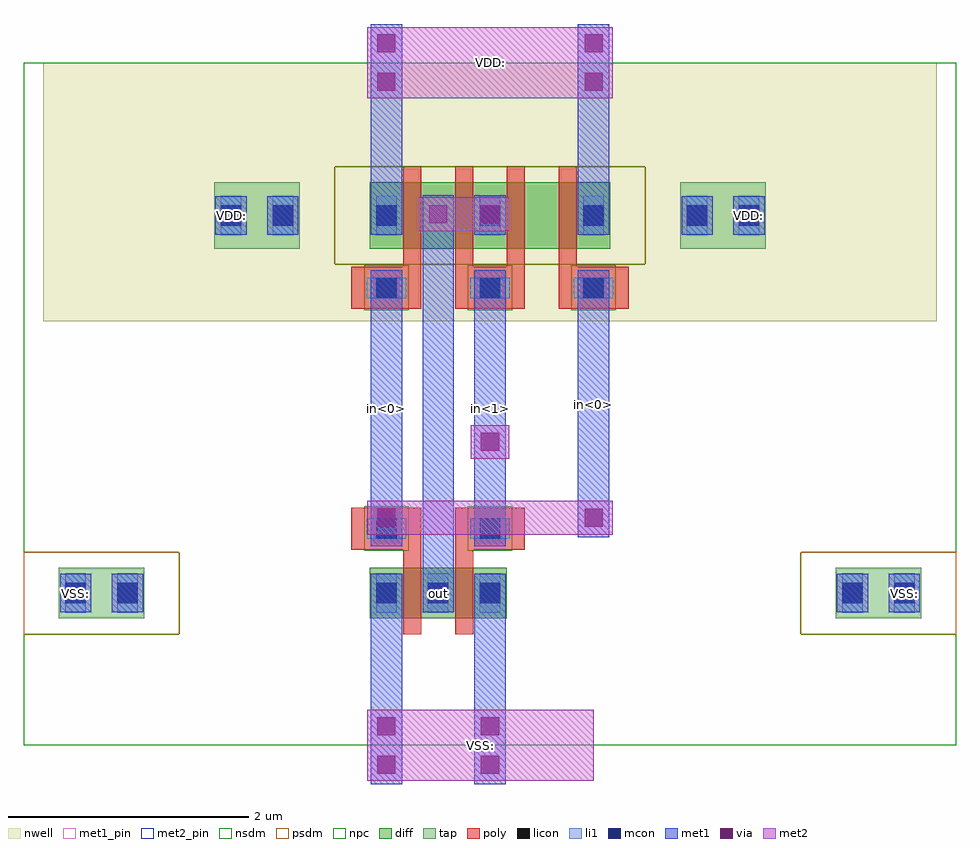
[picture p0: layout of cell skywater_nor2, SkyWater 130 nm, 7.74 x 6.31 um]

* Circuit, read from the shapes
.subckt skywater_nor2 VDD: VSS: in<0> in<1> out
XM1 out in<0> VSS: VSS: sky130_fd_pr__nfet_01v8 w=0.42 l=0.15
XM2 VSS: in<1> out VSS: sky130_fd_pr__nfet_01v8 w=0.42 l=0.15
XM3 n1 in<0> VDD: VDD: sky130_fd_pr__pfet_01v8 w=0.55 l=0.15
XM4 out in<1> n1 VDD: sky130_fd_pr__pfet_01v8 w=0.55 l=0.15
XM5 n2 in<1> out VDD: sky130_fd_pr__pfet_01v8 w=0.55 l=0.15
XM6 VDD: in<0> n2 VDD: sky130_fd_pr__pfet_01v8 w=0.55 l=0.15
.ends

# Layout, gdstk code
from math import pi, radians
import gdstk
lib = gdstk.Library(unit=1e-6, precision=1e-09)
def R(c, l, rs):  # rectangles x0, y0, x1, y1
    for r in rs: c.add(gdstk.rectangle(r[:2], r[2:], *l))
def A(c, l, x, y, w, h, nx, ny, dx, dy):  # array of equal rectangles
    R(c, l, [(x+i*dx, y+j*dy, x+i*dx+w, y+j*dy+h) for i in range(nx) for j in range(ny)])
def P(c, l, *ps):  # polygons
    for p in ps: c.add(gdstk.Polygon(p, *l))
nwell = (64, 20)
diff = (65, 20)
tap = (65, 44)
poly = (66, 20)
licon = (66, 44)
li1 = (67, 20)
mcon = (67, 44)
met1_pin = (68, 16)
met1 = (68, 20)
via = (68, 44)
met2_pin = (69, 16)
met2 = (69, 20)
nsdm = (93, 44)
psdm = (94, 20)
npc = (95, 20)

skywater_nor2_mosend = lib.new_cell('skywater_nor2_MOSEnd')
R(skywater_nor2_mosend, nsdm, [(0,0,6.88,0.73)])

skywater_nor2_mosend_1 = lib.new_cell('skywater_nor2_MOSEnd_1')
R(skywater_nor2_mosend_1, nwell, [(0,0,6.88,0.67)])
R(skywater_nor2_mosend_1, nsdm, [(0,0,6.88,0.67)])

skywater_nor2_mosconn_1 = lib.new_cell('skywater_nor2_MOSConn_1')
R(skywater_nor2_mosconn_1, diff, [(-0.14,0.605,1,1.025)])
R(skywater_nor2_mosconn_1, poly, [(-0.165,0.105,0.165,0.455), (0.695,0.105,1.025,0.455)])
P(skywater_nor2_mosconn_1, poly, [(0.14,1.155),(0.14,0.455),(-0.29,0.455),(-0.29,0.105),(0.29,0.105),(0.29,1.155)],
  [(0.57,1.155),(0.57,0.105),(1.15,0.105),(1.15,0.455),(0.72,0.455),(0.72,1.155)])
A(skywater_nor2_mosconn_1, licon, -0.085, 0.73, 0.17, 0.17, 3, 1, 0.43, 0)
R(skywater_nor2_mosconn_1, licon, [(-0.085,0.195,0.085,0.365), (0.775,0.195,0.945,0.365)])
A(skywater_nor2_mosconn_1, li1, -0.085, 0.65, 0.17, 0.33, 3, 1, 0.43, 0)
A(skywater_nor2_mosconn_1, li1, -0.085, 0.69, 0.17, 0.25, 3, 1, 0.43, 0)
R(skywater_nor2_mosconn_1, li1, [(-0.165,0.195,0.165,0.365), (-0.165,0.195,0.165,0.365), (-0.125,0.195,0.125,0.365), (0.695,0.195,1.025,0.365), (0.695,0.195,1.025,0.365), (0.735,0.195,0.985,0.365)])
A(skywater_nor2_mosconn_1, mcon, -0.085, 0.73, 0.17, 0.17, 3, 1, 0.43, 0)
R(skywater_nor2_mosconn_1, mcon, [(-0.085,0.195,0.085,0.365), (0.775,0.195,0.945,0.365)])
A(skywater_nor2_mosconn_1, met1, -0.13, 0.655, 0.26, 0.32, 3, 1, 0.43, 0)
A(skywater_nor2_mosconn_1, met1, -0.13, 0.67, 0.26, 0.29, 3, 1, 0.43, 0)
R(skywater_nor2_mosconn_1, met1, [(-0.13,0.105,0.13,0.425), (0.73,0.105,0.99,0.425), (-0.13,0.135,0.13,0.425), (0.73,0.135,0.99,0.425)])
R(skywater_nor2_mosconn_1, nsdm, [(0,0,0.86,1.35)])
R(skywater_nor2_mosconn_1, npc, [(-0.185,0.095,0.185,0.465), (0.675,0.095,1.045,0.465)])

skywater_nor2_mosconn = lib.new_cell('skywater_nor2_MOSConn')
R(skywater_nor2_mosconn, nwell, [(0,0,1.72,1.48)])
R(skywater_nor2_mosconn, diff, [(-0.14,0.605,1.86,1.155)])
A(skywater_nor2_mosconn, poly, -0.165, 0.105, 0.33, 0.35, 3, 1, 0.86, 0)
P(skywater_nor2_mosconn, poly, [(0.14,1.285),(0.14,0.455),(-0.29,0.455),(-0.29,0.105),(0.29,0.105),(0.29,1.285)],
  [(1,1.285),(1,0.455),(0.72,0.455),(0.72,1.285),(0.57,1.285),(0.57,0.105),(1.15,0.105),(1.15,1.285)],
  [(1.43,1.285),(1.43,0.105),(2.01,0.105),(2.01,0.455),(1.58,0.455),(1.58,1.285)])
A(skywater_nor2_mosconn, licon, -0.085, 0.195, 0.17, 0.17, 3, 2, 0.86, 0.6)
A(skywater_nor2_mosconn, li1, -0.125, 0.195, 0.25, 0.17, 3, 1, 0.86, 0)
A(skywater_nor2_mosconn, li1, -0.085, 0.715, 0.17, 0.33, 3, 1, 0.86, 0)
A(skywater_nor2_mosconn, li1, -0.085, 0.755, 0.17, 0.25, 3, 1, 0.86, 0)
R(skywater_nor2_mosconn, li1, [(-0.165,0.195,0.165,0.365), (-0.165,0.195,0.165,0.365), (0.695,0.195,1.025,0.365), (0.695,0.195,1.025,0.365), (1.555,0.195,1.885,0.365), (1.555,0.195,1.885,0.365)])
A(skywater_nor2_mosconn, mcon, -0.085, 0.195, 0.17, 0.17, 3, 2, 0.86, 0.6)
A(skywater_nor2_mosconn, met1, -0.13, 0.105, 0.26, 0.32, 3, 2, 0.86, 0.615)
A(skywater_nor2_mosconn, met1, -0.13, 0.135, 0.26, 0.29, 3, 2, 0.86, 0.6)
R(skywater_nor2_mosconn, nsdm, [(0,0,1.72,0.475), (0,1.285,1.72,1.48)])
R(skywater_nor2_mosconn, psdm, [(0,0.475,1.72,1.285)])
A(skywater_nor2_mosconn, npc, -0.185, 0.095, 0.37, 0.37, 3, 1, 0.86, 0)

skywater_nor2_nor2core = lib.new_cell('skywater_nor2_NOR2Core')
R(skywater_nor2_nor2core, met1, [(-0.13,-0.32,0.13,1.425), (-0.13,-0.32,0.13,0.32), (0.73,-0.32,0.99,1.425), (0.73,-0.32,0.99,0.32), (0.3,1.105,0.56,4.57), (-0.13,1.655,0.13,3.945), (0.73,1.655,0.99,3.945), (-0.13,1.73,0.13,2.05), (1.59,1.73,1.85,3.945), (1.59,1.73,1.85,2.05), (0.73,2.36,0.99,2.68), (-0.13,4.24,0.13,5.99), (0.73,4.24,0.99,4.57), (1.59,4.24,1.85,5.99), (0.3,4.25,0.56,4.57), (0.73,4.25,0.99,4.57), (-0.13,5.35,0.13,5.99), (1.59,5.35,1.85,5.99)])
R(skywater_nor2_nor2core, via, [(-0.075,-0.235,0.075,-0.085), (0.785,-0.235,0.935,-0.085), (-0.075,0.085,0.075,0.235), (0.785,0.085,0.935,0.235), (-0.075,1.815,0.075,1.965), (1.645,1.815,1.795,1.965), (0.785,2.445,0.935,2.595), (0.355,4.335,0.505,4.485), (0.785,4.335,0.935,4.485), (-0.075,5.435,0.075,5.585), (1.645,5.435,1.795,5.585), (-0.075,5.755,0.075,5.905), (1.645,5.755,1.795,5.905)])
R(skywater_nor2_nor2core, met2, [(-0.16,-0.295,1.72,0.295), (-0.16,-0.295,0.16,0.295), (0.7,-0.295,1.02,0.295), (-0.16,1.75,1.88,2.03), (-0.16,1.75,0.16,2.03), (1.56,1.75,1.88,2.03), (0.7,2.38,1.02,2.66), (0.7,2.38,1.02,2.66), (0.27,4.27,0.59,4.55), (0.27,4.27,1.02,4.55), (0.7,4.27,1.02,4.55), (-0.16,5.375,1.88,5.965), (-0.16,5.375,0.16,5.965), (1.56,5.375,1.88,5.965)])
skywater_nor2_nor2core.add(gdstk.Reference(skywater_nor2_mosconn_1, (0,2.08), x_reflection=True))
skywater_nor2_nor2core.add(gdstk.Reference(skywater_nor2_mosconn, (0,3.52)))

skywater_nor2_mostap = lib.new_cell('skywater_nor2_MOSTap')
R(skywater_nor2_mostap, tap, [(-0.14,0.605,0.57,1.025)])
R(skywater_nor2_mostap, licon, [(-0.085,0.73,0.085,0.9), (0.345,0.73,0.515,0.9)])
R(skywater_nor2_mostap, li1, [(-0.085,0.65,0.085,0.98), (0.345,0.65,0.515,0.98), (-0.085,0.69,0.085,0.94), (0.345,0.69,0.515,0.94)])
R(skywater_nor2_mostap, mcon, [(-0.085,0.73,0.085,0.9), (0.345,0.73,0.515,0.9)])
R(skywater_nor2_mostap, met1, [(-0.13,0.655,0.13,0.975), (0.3,0.655,0.56,0.975), (-0.13,0.67,0.13,0.96), (0.3,0.67,0.56,0.96)])
R(skywater_nor2_mostap, nsdm, [(0,0,0.43,0.475), (0,1.155,0.43,1.35)])
R(skywater_nor2_mostap, psdm, [(0,0.475,0.43,1.155)])

skywater_nor2_mostap_1 = lib.new_cell('skywater_nor2_MOSTap_1')
R(skywater_nor2_mostap_1, nwell, [(0,0,0.43,1.48)])
R(skywater_nor2_mostap_1, tap, [(-0.14,0.605,0.57,1.155)])
R(skywater_nor2_mostap_1, licon, [(-0.085,0.795,0.085,0.965), (0.345,0.795,0.515,0.965)])
R(skywater_nor2_mostap_1, li1, [(-0.085,0.715,0.085,1.045), (0.345,0.715,0.515,1.045), (-0.085,0.755,0.085,1.005), (0.345,0.755,0.515,1.005)])
R(skywater_nor2_mostap_1, mcon, [(-0.085,0.795,0.085,0.965), (0.345,0.795,0.515,0.965)])
R(skywater_nor2_mostap_1, met1, [(-0.13,0.72,0.13,1.04), (0.3,0.72,0.56,1.04), (-0.13,0.735,0.13,1.025), (0.3,0.735,0.56,1.025)])
R(skywater_nor2_mostap_1, nsdm, [(0,0,0.43,1.48)])

skywater_nor2_nor2coreta = lib.new_cell('skywater_nor2_NOR2CoreTap')
skywater_nor2_nor2coreta.add(gdstk.Reference(skywater_nor2_nor2core, (2.58,0)))
skywater_nor2_nor2coreta.add(gdstk.Reference(skywater_nor2_mostap, (0,2.08), x_reflection=True))
skywater_nor2_nor2coreta.add(gdstk.Reference(skywater_nor2_mostap, (6.88,2.08), rotation=pi))
skywater_nor2_nor2coreta.add(gdstk.Reference(skywater_nor2_mostap_1, (5.59,3.52), rotation=pi, x_reflection=True))
skywater_nor2_nor2coreta.add(gdstk.Reference(skywater_nor2_mostap_1, (1.29,3.52)))

skywater_nor2_moscorner = lib.new_cell('skywater_nor2_MOSCorner')
R(skywater_nor2_moscorner, nsdm, [(0,0,0.43,0.73)])

skywater_nor2_moscorner_ = lib.new_cell('skywater_nor2_MOSCorner_1')
R(skywater_nor2_moscorner_, nwell, [(0.16,0,0.43,0.67)])
R(skywater_nor2_moscorner_, nsdm, [(0,0,0.43,0.67)])

skywater_nor2_mosrowedge = lib.new_cell('skywater_nor2_MOSRowEdge')
R(skywater_nor2_mosrowedge, nsdm, [(0,0,0.43,0.475), (0,1.155,0.43,1.35)])
R(skywater_nor2_mosrowedge, psdm, [(0,0.475,0.43,1.155)])

c_skywater_nor2_mosrowedge = lib.new_cell('skywater_nor2_MOSRowEdge_1')
R(c_skywater_nor2_mosrowedge, nwell, [(0.16,0,0.43,1.48)])
R(c_skywater_nor2_mosrowedge, nsdm, [(0,0,0.43,1.48)])

skywater_nor2_mosspace = lib.new_cell('skywater_nor2_MOSSpace')
P(skywater_nor2_mosspace, nsdm, [(0,1.35),(0,1.155),(0.43,1.155),(0.43,0.475),(0,0.475),(0,0),(2.15,0),(2.15,1.35)])
R(skywater_nor2_mosspace, psdm, [(0,0.475,0.43,1.155)])

skywater_nor2_mosspace_1 = lib.new_cell('skywater_nor2_MOSSpace_1')
P(skywater_nor2_mosspace_1, nsdm, [(0,1.35),(0,0),(3.01,0),(3.01,0.475),(2.58,0.475),(2.58,1.155),(3.01,1.155),(3.01,1.35)])
R(skywater_nor2_mosspace_1, psdm, [(2.58,0.475,3.01,1.155)])

skywater_nor2_mosspace_2 = lib.new_cell('skywater_nor2_MOSSpace_2')
R(skywater_nor2_mosspace_2, nwell, [(0,0,1.29,1.48)])
R(skywater_nor2_mosspace_2, nsdm, [(0,0,1.29,1.48)])

skywater_nor2_mosspace_4 = lib.new_cell('skywater_nor2_MOSSpace_4')
R(skywater_nor2_mosspace_4, nwell, [(0,0,0.86,1.48)])
P(skywater_nor2_mosspace_4, nsdm, [(0,1.48),(0,1.285),(0.43,1.285),(0.43,0.475),(0,0.475),(0,0),(0.86,0),(0.86,1.48)])
R(skywater_nor2_mosspace_4, psdm, [(0,0.475,0.43,1.285)])

skywater_nor2_mosspace_5 = lib.new_cell('skywater_nor2_MOSSpace_5')
R(skywater_nor2_mosspace_5, nwell, [(0,0,1.29,1.48)])
R(skywater_nor2_mosspace_5, nsdm, [(0,0,1.29,1.48)])

skywater_nor2_mosspace_3 = lib.new_cell('skywater_nor2_MOSSpace_3')
R(skywater_nor2_mosspace_3, nwell, [(0,0,0.86,1.48)])
P(skywater_nor2_mosspace_3, nsdm, [(0,1.48),(0,0),(0.86,0),(0.86,0.475),(0.43,0.475),(0.43,1.285),(0.86,1.285),(0.86,1.48)])
R(skywater_nor2_mosspace_3, psdm, [(0.43,0.475,0.86,1.285)])

skywater_nor2_nor2 = lib.new_cell('skywater_nor2_NOR2')
R(skywater_nor2_nor2, nsdm, [(0,2.08,7.74,3.52)])
skywater_nor2_nor2.add(gdstk.Reference(skywater_nor2_mosend, (0.43,0)))
skywater_nor2_nor2.add(gdstk.Reference(skywater_nor2_mosend_1, (0.43,5.67), x_reflection=True))
skywater_nor2_nor2.add(gdstk.Reference(skywater_nor2_nor2coreta, (0.43,0)))
skywater_nor2_nor2.add(gdstk.Reference(skywater_nor2_moscorner, (0,0)))
skywater_nor2_nor2.add(gdstk.Reference(skywater_nor2_moscorner, (7.74,0), rotation=pi, x_reflection=True))
skywater_nor2_nor2.add(gdstk.Reference(skywater_nor2_moscorner_, (0,5.67), x_reflection=True))
skywater_nor2_nor2.add(gdstk.Reference(skywater_nor2_moscorner_, (7.74,5.67), rotation=pi))
skywater_nor2_nor2.add(gdstk.Reference(skywater_nor2_mosrowedge, (0,2.08), x_reflection=True))
skywater_nor2_nor2.add(gdstk.Reference(skywater_nor2_mosrowedge, (7.74,2.08), rotation=pi))
skywater_nor2_nor2.add(gdstk.Reference(c_skywater_nor2_mosrowedge, (0,3.52)))
skywater_nor2_nor2.add(gdstk.Reference(c_skywater_nor2_mosrowedge, (7.74,3.52), rotation=pi, x_reflection=True))
skywater_nor2_nor2.add(gdstk.Reference(skywater_nor2_mosspace, (0.86,2.08), x_reflection=True))
skywater_nor2_nor2.add(gdstk.Reference(skywater_nor2_mosspace_1, (3.87,2.08), x_reflection=True))
skywater_nor2_nor2.add(gdstk.Reference(skywater_nor2_mosspace_2, (0.43,3.52)))
skywater_nor2_nor2.add(gdstk.Reference(skywater_nor2_mosspace_4, (4.73,3.52)))
skywater_nor2_nor2.add(gdstk.Reference(skywater_nor2_mosspace_5, (6.02,3.52)))
skywater_nor2_nor2.add(gdstk.Reference(skywater_nor2_mosspace_3, (2.15,3.52)))

skywater_nor2 = lib.new_cell('skywater_nor2')
R(skywater_nor2, met1_pin, [(0.3,1.42,0.56,1.74), (3.31,1.42,3.57,1.74), (7.18,1.42,7.44,1.74), (2.88,1.97,3.14,4.26), (3.74,1.97,4,4.26), (4.6,2.045,4.86,4.26), (1.59,4.555,1.85,4.875), (5.89,4.555,6.15,4.875)])
R(skywater_nor2, met2_pin, [(2.85,0.02,4.73,0.61), (2.85,5.69,4.89,6.28)])
skywater_nor2.add(gdstk.Reference(skywater_nor2_nor2, (0,0.315)))
skywater_nor2.add(gdstk.Label('VDD:', (1.72,4.715), layer=68, texttype=16))
skywater_nor2.add(gdstk.Label('VDD:', (6.02,4.715), layer=68, texttype=16))
skywater_nor2.add(gdstk.Label('VSS:', (0.43,1.58), layer=68, texttype=16))
skywater_nor2.add(gdstk.Label('VSS:', (7.31,1.58), layer=68, texttype=16))
skywater_nor2.add(gdstk.Label('in<0>', (3.01,3.115), layer=68, texttype=16))
skywater_nor2.add(gdstk.Label('in<0>', (4.73,3.15), layer=68, texttype=16))
skywater_nor2.add(gdstk.Label('in<1>', (3.87,3.115), layer=68, texttype=16))
skywater_nor2.add(gdstk.Label('out', (3.44,1.58), layer=68, texttype=16))
skywater_nor2.add(gdstk.Label('VDD:', (3.87,5.985), layer=69, texttype=16))
skywater_nor2.add(gdstk.Label('VSS:', (3.79,0.315), layer=69, texttype=16))

lib.write_gds('skywater_nor2.gds')
